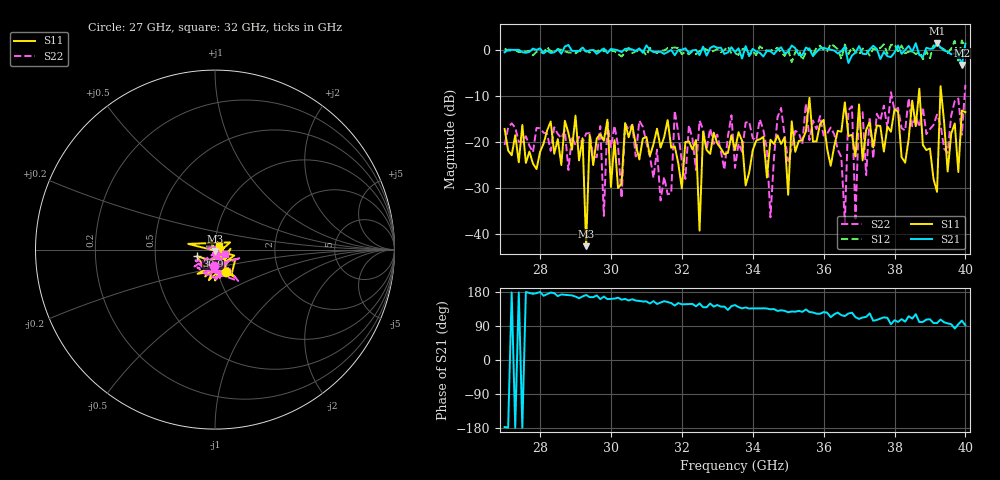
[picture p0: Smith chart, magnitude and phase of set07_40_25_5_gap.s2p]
! Quiescent point : V1=-1.60085E-02 I1=+1.29925E-03 V2=-2.23054E-02 I2=-1.28412E-03
! Pulsed point : V1=-1.63289E-02 I1=+1.28836E-03 V2=-2.25777E-02 I2=-1.30532E-03
! Period : +2.00000E-04
! Input Supply timing : delay=+1.60000E-06 width=+2.20000E-06
! Output Supply timing : delay=+1.70000E-06 width=+2.00000E-06
! VNA timing : delay=+2.40000E-06 width=+1.10000E-06
# Hz S RI R 50
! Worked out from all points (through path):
!   131 points, 27 GHz to 40 GHz, reference 50 ohm
!   highest |S21| = 1.42 dB at 39.2 GHz (marker M1); lowest = -3.3 dB at 39.9 GHz (marker M2)
!   group delay of S21, straight-line fit = 18.7 ps
!   lowest |S11| = -42.7 dB at 29.3 GHz (marker M3), VSWR 1.01, Z = 49.9 - j0.73 ohm
!   |S11| at or under -10 dB: start of sweep to 38.68 GHz; 38.71 GHz to 39.29 GHz (578.2 MHz wide, 1.48 % of centre); 39.33 GHz to end of sweep
!   |S22| runs from -37.5 to -7.6 dB; largest |S21 - S12| = 0.6
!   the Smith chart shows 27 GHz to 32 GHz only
!   S11 on the Smith chart (normalised r, x): 27 GHz: 1.09, -0.28; 30.9 GHz: 0.81, -0.06; 32 GHz: 1.05, +0.04
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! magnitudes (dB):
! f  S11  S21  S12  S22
! 27 GHz  -17.2  -0.5  0.3  -20.7
! 29.2 GHz  -19.2  0.5  -0.4  -20.3
! 29.3 GHz  -42.7  -0.4  -0.2  -18.2
! 29.4 GHz  -18.5  -0.1  -0.6  -18.1
! 29.8 GHz  -19.8  0.3  -0.4  -36.1
! 29.9 GHz  -15.2  -0.7  0.2  -15.7
! 30.9 GHz  -19.3  -0.7  -0.2  -16.7
! 31.4 GHz  -21.3  -0.4  -0.1  -32.7
! 32 GHz  -30.1  0.0  -1.0  -24.3
! 33.5 GHz  -21.8  -0.5  -0.8  -25.7
! 35.7 GHz  -19.9  -1.4  -1.1  -15.4
! 36.6 GHz  -11.4  0.7  1.2  -37.5
! 36.7 GHz  -18.7  -2.9  -1.0  -13.2
! 36.9 GHz  -23.2  -0.6  -0.4  -36.7
! 37 GHz  -11.9  0.8  -1.0  -13.5
! 37.9 GHz  -17.8  -1.6  1.0  -9.2
! 38.7 GHz  -8.5  -1.1  -0.4  -16.8
! 39.2 GHz  -30.9  1.4  0.6  -14.1
! 39.3 GHz  -7.9  0.5  0.5  -16.3
! 39.5 GHz  -26.5  -0.5  -0.7  -22.4
! 39.9 GHz  -13.2  -3.3  2.0  -18.5
! 40 GHz  -13.6  1.3  0.3  -7.6
